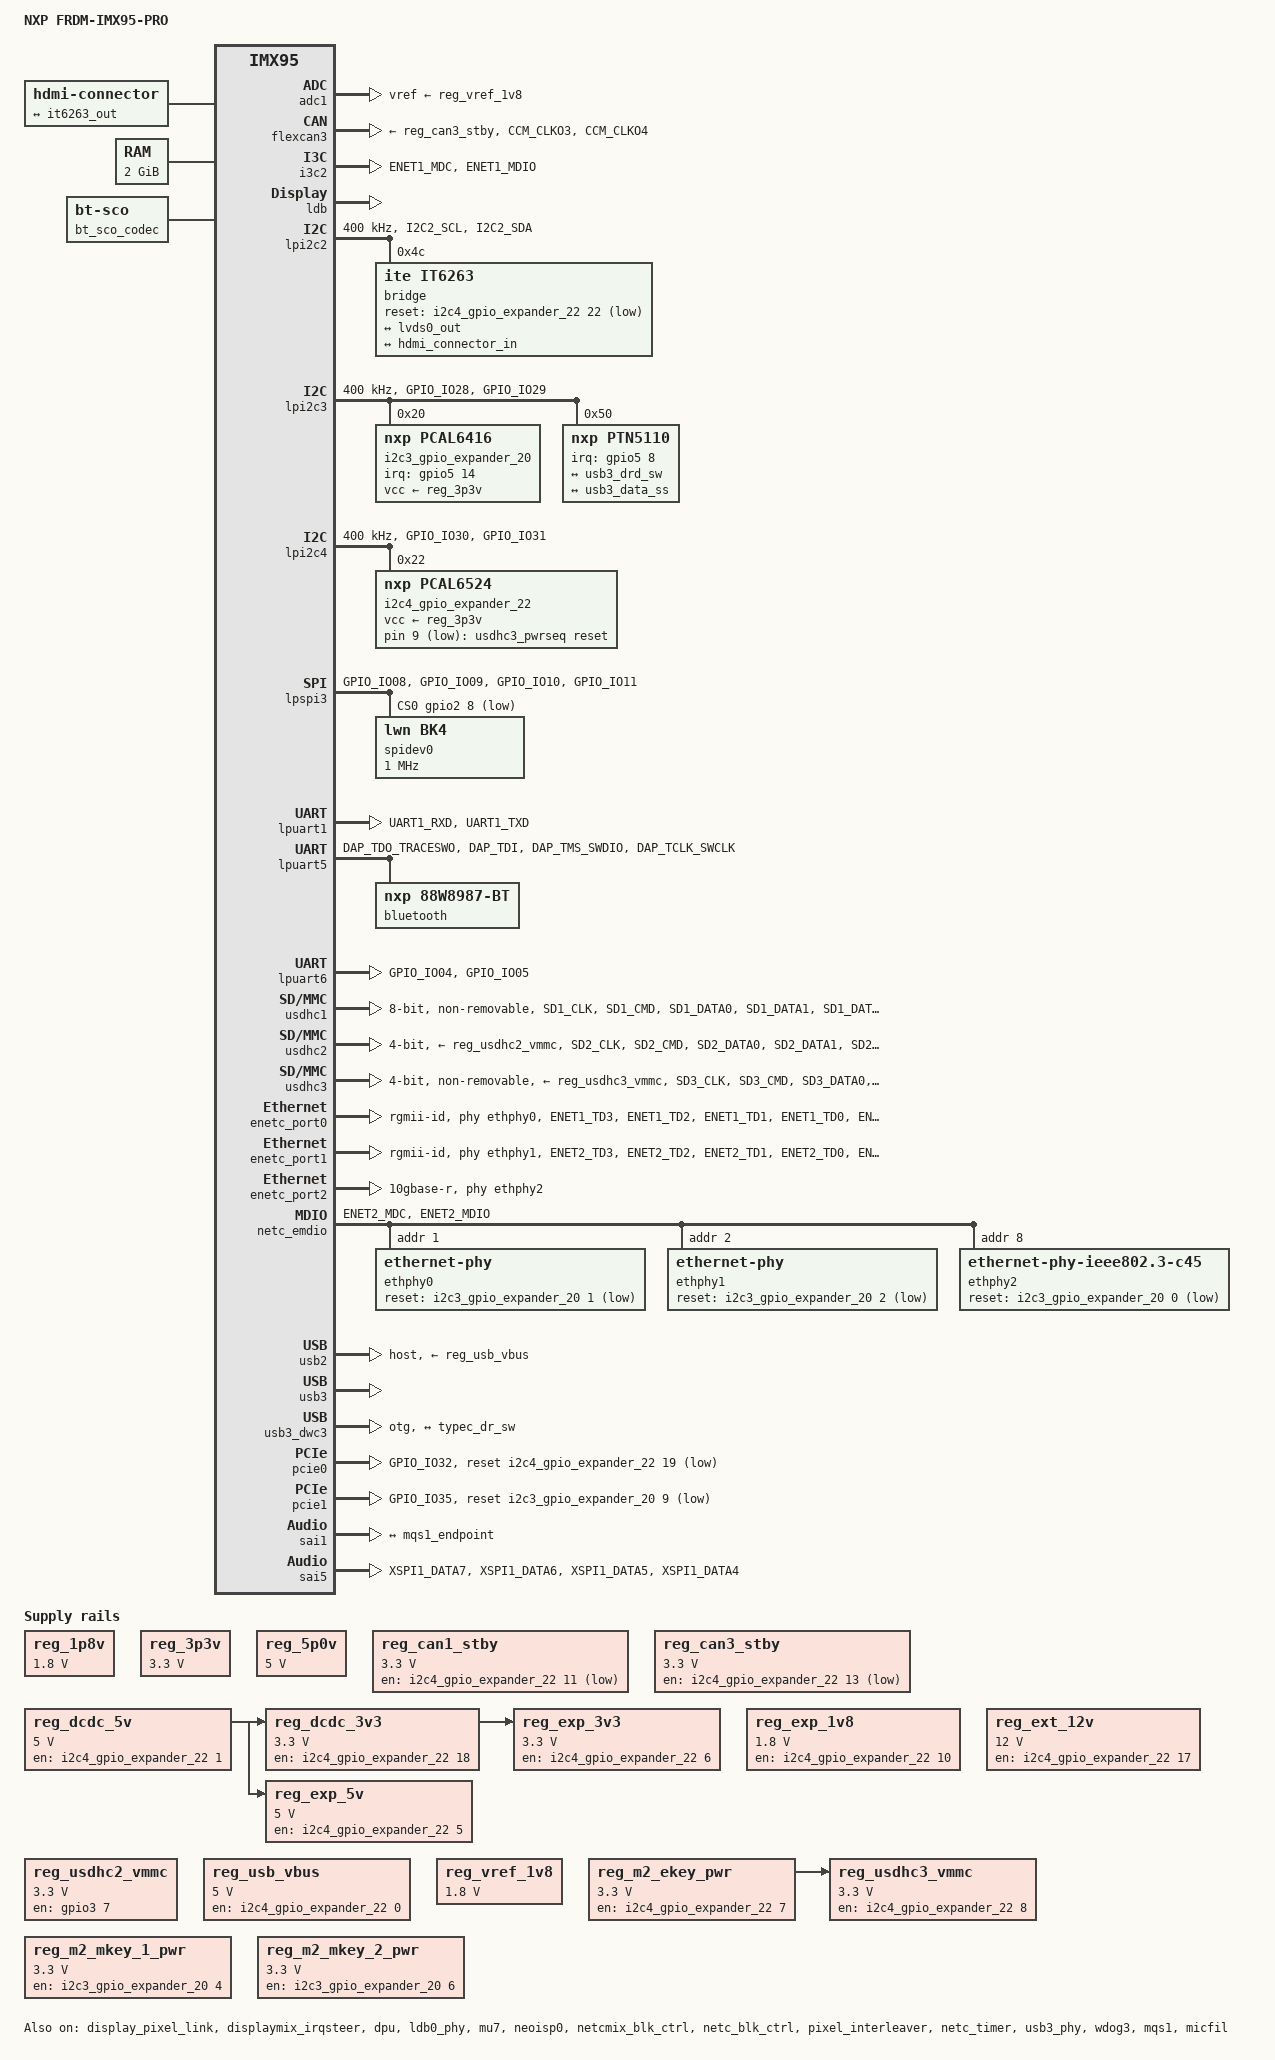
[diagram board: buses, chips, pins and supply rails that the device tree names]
// SPDX-License-Identifier: (GPL-2.0+ OR MIT)
/*
 * Copyright 2025 NXP
 */

/dts-v1/;

#include <dt-bindings/leds/common.h>
#include <dt-bindings/phy/phy-imx8-pcie.h>
#include <dt-bindings/pwm/pwm.h>
#include <dt-bindings/usb/pd.h>
#include <dt-bindings/i3c/i3c.h>
#include "imx95.dtsi"

#define FALLING_EDGE		BIT(0)
#define RISING_EDGE		BIT(1)

#define BRD_SM_CTRL_SD3_WAKE		0x8000	/*!< PCAL6408A-0 */
#define BRD_SM_CTRL_PCIE1_WAKE		0x8001	/*!< PCAL6408A-4 */
#define BRD_SM_CTRL_BT_WAKE		0x8002	/*!< PCAL6408A-5 */
#define BRD_SM_CTRL_PCIE2_WAKE		0x8003	/*!< PCAL6408A-6 */
#define BRD_SM_CTRL_BUTTON		0x8004	/*!< PCAL6408A-7 */

/ {
	model = "NXP FRDM-IMX95-PRO";
	compatible = "fsl,frdm-imx95-pro", "fsl,imx95";

	aliases {
		ethernet0 = &enetc_port0;
		ethernet1 = &enetc_port1;
	};

	chosen {
		stdout-path = &lpuart1;
		#address-cells = <2>;
		#size-cells = <2>;
	};

	hdmi-connector {
		compatible = "hdmi-connector";
		label = "hdmi";
		type = "a";

		port {
			hdmi_connector_in: endpoint {
				remote-endpoint = <&it6263_out>;
			};
		};
	};

	memory@80000000 {
		device_type = "memory";
		reg = <0x0 0x80000000 0 0x80000000>;
	};

	reserved-memory {
		#address-cells = <2>;
		#size-cells = <2>;
		ranges;

		linux_cma: linux,cma {
			compatible = "shared-dma-pool";
			reusable;
			size = <0 0x3c000000>;
			alloc-ranges = <0 0x80000000 0 0x7F000000>;
			linux,cma-default;
		};

		vpu_boot: vpu_boot@a0000000 {
			reg = <0 0xa0000000 0 0x100000>;
			no-map;
		};

		vdev0vring0: vdev0vring0@88000000 {
			reg = <0 0x88000000 0 0x8000>;
			no-map;
		};

		vdev0vring1: vdev0vring1@88008000 {
			reg = <0 0x88008000 0 0x8000>;
			no-map;
		};

		vdev1vring0: vdev1vring0@88010000 {
			reg = <0 0x88010000 0 0x8000>;
			no-map;
		};

		vdev1vring1: vdev1vring1@88018000 {
			reg = <0 0x88018000 0 0x8000>;
			no-map;
		};

		rsc_table: rsc-table@88220000 {
			reg = <0 0x88220000 0 0x1000>;
			no-map;
		};

		vdevbuffer: vdevbuffer@88020000 {
			compatible = "shared-dma-pool";
			reg = <0 0x88020000 0 0x100000>;
			no-map;
		};
	};

	reg_1p8v: regulator-1p8v {
		compatible = "regulator-fixed";
		regulator-max-microvolt = <1800000>;
		regulator-min-microvolt = <1800000>;
		regulator-name = "+V1.8_SW";
	};

	reg_3p3v: regulator-3p3v {
		compatible = "regulator-fixed";
		regulator-max-microvolt = <3300000>;
		regulator-min-microvolt = <3300000>;
		regulator-name = "+V3.3_SW";
	};

	reg_5p0v: regulator-5p0v {
		compatible = "regulator-fixed";
		regulator-max-microvolt = <5000000>;
		regulator-min-microvolt = <5000000>;
		regulator-name = "+V5.0_SW";
	};

	reg_can1_stby: regulator-can1-stby {
		compatible = "regulator-fixed";
		regulator-name = "can1-stby";
		regulator-min-microvolt = <3300000>;
		regulator-max-microvolt = <3300000>;
		gpio = <&i2c4_gpio_expander_22 11 GPIO_ACTIVE_LOW>;
		enable-active-low;
	};

	reg_can3_stby: regulator-can2-stby {
		compatible = "regulator-fixed";
		regulator-name = "can3-stby";
		regulator-min-microvolt = <3300000>;
		regulator-max-microvolt = <3300000>;
		gpio = <&i2c4_gpio_expander_22 13 GPIO_ACTIVE_LOW>;
		enable-active-low;
	};

	reg_dcdc_5v: regulator-dcdc-5v {
		compatible = "regulator-fixed";
		regulator-max-microvolt = <5000000>;
		regulator-min-microvolt = <5000000>;
		regulator-name = "DCDC_5V";
		gpio = <&i2c4_gpio_expander_22 1 GPIO_ACTIVE_HIGH>;
		enable-active-high;
		regulator-always-on;
	};

	reg_dcdc_3v3: regulator-dcdc-3v3 {
		compatible = "regulator-fixed";
		regulator-max-microvolt = <3300000>;
		regulator-min-microvolt = <3300000>;
		regulator-name = "DCDC_3V3";
		gpio = <&i2c4_gpio_expander_22 18 GPIO_ACTIVE_HIGH>;
		vin-supply = <&reg_dcdc_5v>;
		enable-active-high;
		regulator-always-on;
	};

	reg_exp_1v8: regulator-exp-1v8 {
		compatible = "regulator-fixed";
		regulator-max-microvolt = <1800000>;
		regulator-min-microvolt = <1800000>;
		regulator-name = "EXP_1V8";
		gpio = <&i2c4_gpio_expander_22 10 GPIO_ACTIVE_HIGH>;
		enable-active-high;
	};

	reg_exp_3v3: regulator-exp-3v3 {
		compatible = "regulator-fixed";
		regulator-max-microvolt = <3300000>;
		regulator-min-microvolt = <3300000>;
		regulator-name = "EXP_3V3";
		gpio = <&i2c4_gpio_expander_22 6 GPIO_ACTIVE_HIGH>;
		vin-supply = <&reg_dcdc_3v3>;
		enable-active-high;
	};

	reg_exp_5v: regulator-exp-5v {
		compatible = "regulator-fixed";
		regulator-max-microvolt = <5000000>;
		regulator-min-microvolt = <5000000>;
		regulator-name = "EXP_5V";
		gpio = <&i2c4_gpio_expander_22 5 GPIO_ACTIVE_HIGH>;
		vin-supply = <&reg_dcdc_5v>;
		enable-active-high;
		regulator-always-on;
	};

	reg_ext_12v: regulator-ext-12v {
		compatible = "regulator-fixed";
		regulator-name = "VCCEXT_12V";
		regulator-min-microvolt = <12000000>;
		regulator-max-microvolt = <12000000>;
		gpio = <&i2c4_gpio_expander_22 17 GPIO_ACTIVE_HIGH>;
		enable-active-high;
		regulator-always-on;
	};

	reg_usdhc2_vmmc: regulator-usdhc2 {
		compatible = "regulator-fixed";
		pinctrl-names = "default";
		pinctrl-0 = <&pinctrl_reg_usdhc2_vmmc>;
		regulator-name = "VDD_SD2_3V3";
		regulator-min-microvolt = <3300000>;
		regulator-max-microvolt = <3300000>;
		gpio = <&gpio3 7 GPIO_ACTIVE_HIGH>;
		off-on-delay-us = <12000>;
		enable-active-high;
	};

	reg_usb_vbus: regulator-vbus {
		compatible = "regulator-fixed";
		regulator-name = "USB_VBUS";
		regulator-min-microvolt = <5000000>;
		regulator-max-microvolt = <5000000>;
		gpio = <&i2c4_gpio_expander_22 0 GPIO_ACTIVE_HIGH>;
		enable-active-high;
	};

	usdhc3_pwrseq: usdhc3_pwrseq {
		compatible = "mmc-pwrseq-simple";
		reset-gpios = <&i2c4_gpio_expander_22 9 GPIO_ACTIVE_LOW>;
	};

	reg_usdhc3_vmmc: regulator-usdhc3 {
		compatible = "regulator-fixed";
		regulator-name = "WLAN_EN";
		regulator-min-microvolt = <3300000>;
		regulator-max-microvolt = <3300000>;
		vin-supply = <&reg_m2_ekey_pwr>;
		gpio = <&i2c4_gpio_expander_22 8 GPIO_ACTIVE_HIGH>;
		/*
		 * IW612 wifi chip needs more delay than other wifi chips to complete
		 * the host interface initialization after power up, otherwise the
		 * internal state of IW612 may be unstable, resulting in the failure of
		 * the SDIO3.0 switch voltage.
		 */
		startup-delay-us = <20000>;
		enable-active-high;
	};

	reg_vref_1v8: regulator-adc-vref {
		compatible = "regulator-fixed";
		regulator-name = "vref_1v8";
		regulator-min-microvolt = <1800000>;
		regulator-max-microvolt = <1800000>;
	};

	reg_m2_ekey_pwr: regulator-m2-pwr {
		compatible = "regulator-fixed";
		regulator-name = "M.2-power-ekey";
		regulator-min-microvolt = <3300000>;
		regulator-max-microvolt = <3300000>;
		gpio = <&i2c4_gpio_expander_22 7 GPIO_ACTIVE_HIGH>;
		enable-active-high;
		regulator-always-on;
	};

	reg_m2_mkey_1_pwr: regulator-m2-mkey-1-pwr {
		compatible = "regulator-fixed";
		regulator-name = "M.2-power-mkey-1";
		regulator-min-microvolt = <3300000>;
		regulator-max-microvolt = <3300000>;
		gpio = <&i2c3_gpio_expander_20 4 GPIO_ACTIVE_HIGH>;
		enable-active-high;
		regulator-always-on;
	};

	reg_m2_mkey_2_pwr: regulator-m2-mkey-2-pwr {
		compatible = "regulator-fixed";
		regulator-name = "M.2-power-mkey-2";
		regulator-min-microvolt = <3300000>;
		regulator-max-microvolt = <3300000>;
		gpio = <&i2c3_gpio_expander_20 6 GPIO_ACTIVE_HIGH>;
		enable-active-high;
		regulator-always-on;
	};

	cm7: imx95-cm7 {
		compatible = "fsl,imx95-cm7";
		mbox-names = "tx", "rx", "rxdb";
		mboxes = <&mu7 0 1
			  &mu7 1 1
			  &mu7 3 1>;
		memory-region = <&vdevbuffer>, <&vdev0vring0>, <&vdev0vring1>,
				<&vdev1vring0>, <&vdev1vring1>, <&rsc_table>;
		/* cpuid and lmmid must align with SM firmware */
		fsl,cpu-id = <1>;
		fsl,lmm-id = <1>;
		fsl,startup-delay-ms = <50>;
		status = "okay";
	};

	sound-micfil {
		compatible = "fsl,imx-audio-card";
		model = "micfil-audio";
		pri-dai-link {
			link-name = "micfil hifi";
			format = "i2s";
			cpu {
				sound-dai = <&micfil>;
			};
		};
	};

	sound-mqs {
		compatible = "audio-graph-card2";
		links = <&sai1_port1>;
		label = "mqs-audio";
	};

	bt_sco_codec: bt_sco_codec {
		#sound-dai-cells = <1>;
		compatible = "linux,bt-sco";
	};

	sound-bt-sco {
		compatible = "simple-audio-card";
		simple-audio-card,name = "bt-sco-audio";
		simple-audio-card,format = "dsp_a";
		simple-audio-card,bitclock-inversion;
		simple-audio-card,frame-master = <&btcpu>;
		simple-audio-card,bitclock-master = <&btcpu>;

		btcpu: simple-audio-card,cpu {
			sound-dai = <&sai5>;
			dai-tdm-slot-num = <2>;
			dai-tdm-slot-width = <16>;
		};

		simple-audio-card,codec {
			sound-dai = <&bt_sco_codec 1>;
		};
	};

};

&adc1 {
	vref-supply = <&reg_vref_1v8>;
	status = "okay";
};

&display_pixel_link {
	status = "okay";
};

&displaymix_irqsteer {
	status = "okay";
};

&dpu {
	status = "okay";
};

&flexcan1 {
	pinctrl-names = "default";
	pinctrl-0 = <&pinctrl_flexcan1>;
	xceiver-supply = <&reg_can1_stby>;
	status = "disabled";
};

&flexcan3 {
	pinctrl-names = "default";
	pinctrl-0 = <&pinctrl_flexcan3>;
	xceiver-supply = <&reg_can3_stby>;
	status = "okay";
};

&i3c2 {
	i2c-scl-hz = <400000>;
	pinctrl-0 = <&pinctrl_i3c2>;
	pinctrl-names = "default";
	status = "okay";
};

&ldb {
	assigned-clocks = <&scmi_clk IMX95_CLK_LDBPLL_VCO>,
			  <&scmi_clk IMX95_CLK_LDBPLL>;
	assigned-clock-rates = <4158000000>, <1039500000>;
	status = "okay";

	channel@0 {
		#address-cells = <1>;
		#size-cells = <0>;
		status = "okay";
		reg = <0>;

		port@1 {
			reg = <1>;

			lvds0_out: endpoint {
				remote-endpoint = <&it6263_in>;
			};
		};
	};
};

&ldb0_phy {
	status = "okay";
};

&lpi2c2 {
	clock-frequency = <400000>;
	pinctrl-names = "default";
	pinctrl-0 = <&pinctrl_lpi2c2>;
	status = "okay";

	bridge@4c {
		compatible = "ite,it6263";
		reg = <0x4c>;
		reset-gpios = <&i2c4_gpio_expander_22 22 GPIO_ACTIVE_LOW>;

		ports {
			#address-cells = <1>;
			#size-cells = <0>;

			port@0 {
				reg = <0>;

				it6263_in: endpoint {
					remote-endpoint = <&lvds0_out>;
				};
			};

			port@1 {
				reg = <1>;

				it6263_out: endpoint {
					remote-endpoint = <&hdmi_connector_in>;
				};
			};
		};
	};
};

&lpi2c3 {
	clock-frequency = <400000>;
	pinctrl-names = "default";
	pinctrl-0 = <&pinctrl_lpi2c3>;
	status = "okay";

	i2c3_gpio_expander_20: i2c3-gpio-expander@20 {
		compatible = "nxp,pcal6416";
		#gpio-cells = <2>;
		gpio-controller;
		reg = <0x20>;
		interrupt-controller;
		#interrupt-cells = <2>;
		interrupt-parent = <&gpio5>;
		interrupts = <14 IRQ_TYPE_LEVEL_LOW>;
		pinctrl-names = "default";
		pinctrl-0 = <&pinctrl_pcal6416>;
		vcc-supply = <&reg_3p3v>;
	};

	ptn5110: tcpc@50 {
		compatible = "nxp,ptn5110";
		reg = <0x50>;
		interrupt-parent = <&gpio5>;
		interrupts = <8 IRQ_TYPE_LEVEL_LOW>;
		pinctrl-names = "default";
		pinctrl-0 = <&pinctrl_ptn5110>;

		port {
			typec_dr_sw: endpoint {
				remote-endpoint = <&usb3_drd_sw>;
			};
		};

		typec_con: connector {
			compatible = "usb-c-connector";
			label = "USB-C";
			power-role = "dual";
			data-role = "dual";
			try-power-role = "sink";
			source-pdos = <PDO_FIXED(5000, 3000, PDO_FIXED_USB_COMM)>;
			sink-pdos = <PDO_FIXED(5000, 3000, PDO_FIXED_USB_COMM)
				     PDO_VAR(5000, 20000, 3000)>;
			op-sink-microwatt = <15000000>;
			self-powered;

			ports {
				#address-cells = <1>;
				#size-cells = <0>;

				port@1 {
					reg = <1>;
					typec_con_ss: endpoint {
						remote-endpoint = <&usb3_data_ss>;
					};
				};
			};
		};
	};
};

&lpi2c4 {
	clock-frequency = <400000>;
	pinctrl-names = "default";
	pinctrl-0 = <&pinctrl_lpi2c4>;
	status = "okay";

	i2c4_gpio_expander_22: i2c4-gpio-expander@22 {
		compatible = "nxp,pcal6524";
		pinctrl-names = "default";
		pinctrl-0 = <&pinctrl_pcal6524>;
		reg = <0x22>;
		gpio-controller;
		#gpio-cells = <2>;
		gpio-line-names = "USB2 Power Enable",
				  "DCDC5V Enable",
				  "",
				  "SE Enable",
				  "",
				  "EXP 5V Enable",
				  "EXP 3V3 Enable",
				  "WIFI Power Enable",
				  "M2 DIS1 B",
				  "WIFI SD3 Reset",
				  "EXP 1V8 Enable",
				  "CAN1 Standby",
				  "M2 DIS2",
				  "CAN2 Standby",
				  "ETH 10G IO4",
				  "ETH 10G IO3",
				  "SPI3/GPIO select",
				  "EXP 12V Enable",
				  "DCDC 3V3 Enable",
				  "PCIE1 Reset",
				  "",
				  "ETH 10G CLK Enable",
				  "LVDS to HDMI converter IT6263 reset",
				  "";
		vcc-supply = <&reg_3p3v>;

		/* When low, select lpspi; When high, select gpio. */
		lpspi-gpio-sel-hog {
			gpio-hog;
			gpios = <16 GPIO_ACTIVE_HIGH>;
			output-low;
		};
	};
};

&lpspi3 {
	fsl,spi-num-chipselects = <1>;
	pinctrl-names = "default";
	pinctrl-0 = <&pinctrl_lpspi3>;
	gpio = <&i2c4_gpio_expander_22 16 GPIO_ACTIVE_HIGH>;
	cs-gpios = <&gpio2 8 GPIO_ACTIVE_LOW>;
	status = "okay";

	spidev0: spi@0 {
		reg = <0>;
		compatible = "lwn,bk4";
		spi-max-frequency = <1000000>;
	};
};

&lpuart1 {
	/* console */
	pinctrl-names = "default";
	pinctrl-0 = <&pinctrl_uart1>;
	status = "okay";
};

&lpuart5 {
	/* BT */
	pinctrl-names = "default";
	pinctrl-0 = <&pinctrl_uart5>;
	status = "okay";

	bluetooth {
		compatible = "nxp,88w8987-bt";
	};
};

&lpuart6 {
	pinctrl-names = "default";
	pinctrl-0 = <&pinctrl_uart6>;
	status = "okay";
};

&mu7 {
	status = "okay";
};

&neoisp0 {
	status = "okay";
};

&netcmix_blk_ctrl {
	status = "okay";
};

&netc_blk_ctrl {
	status = "okay";
};

&pixel_interleaver {
	#address-cells = <1>;
	#size-cells = <0>;
	status = "okay";

	channel@0 {
		reg = <0>;
		status = "okay";
	};
};

&usdhc1 {
	pinctrl-names = "default", "state_100mhz", "state_200mhz", "sleep";
	pinctrl-0 = <&pinctrl_usdhc1>;
	pinctrl-1 = <&pinctrl_usdhc1_100mhz>;
	pinctrl-2 = <&pinctrl_usdhc1_200mhz>;
	pinctrl-3 = <&pinctrl_usdhc1>;
	bus-width = <8>;
	fsl,tuning-step = <1>;
	non-removable;
	no-sdio;
	no-sd;
	status = "okay";
};

&usdhc2 {
	pinctrl-names = "default", "state_100mhz", "state_200mhz", "sleep";
	pinctrl-0 = <&pinctrl_usdhc2>, <&pinctrl_usdhc2_gpio>;
	pinctrl-1 = <&pinctrl_usdhc2_100mhz>, <&pinctrl_usdhc2_gpio>;
	pinctrl-2 = <&pinctrl_usdhc2_200mhz>, <&pinctrl_usdhc2_gpio>;
	pinctrl-3 = <&pinctrl_usdhc2>, <&pinctrl_usdhc2_gpio>;
	cd-gpios = <&gpio3 00 GPIO_ACTIVE_LOW>;
	fsl,cd-gpio-wakeup-disable;
	vmmc-supply = <&reg_usdhc2_vmmc>;
	bus-width = <4>;
	fsl,tuning-step = <1>;
	status = "okay";
};

&usdhc3 {
	pinctrl-names = "default", "state_100mhz", "state_200mhz", "sleep";
	pinctrl-0 = <&pinctrl_usdhc3>;
	pinctrl-1 = <&pinctrl_usdhc3_100mhz>;
	pinctrl-2 = <&pinctrl_usdhc3_200mhz>;
	pinctrl-3 = <&pinctrl_usdhc3>;
	mmc-pwrseq = <&usdhc3_pwrseq>;
	vmmc-supply = <&reg_usdhc3_vmmc>;
	bus-width = <4>;
	keep-power-in-suspend;
	non-removable;
	wakeup-source;
	status = "okay";
};

&enetc_port0 {
	pinctrl-names = "default";
	pinctrl-0 = <&pinctrl_enetc0>;
	phy-handle = <&ethphy0>;
	phy-mode = "rgmii-id";
	status = "okay";
};

&enetc_port1 {
	pinctrl-names = "default";
	pinctrl-0 = <&pinctrl_enetc1>;
	phy-handle = <&ethphy1>;
	phy-mode = "rgmii-id";
	status = "okay";
};

&enetc_port2 {
	phy-handle = <&ethphy2>;
	phy-mode = "10gbase-r";
	managed = "in-band-status";
	status = "okay";
};

&netc_timer {
	status = "okay";
};

&netc_emdio {
	pinctrl-names = "default";
	pinctrl-0 = <&pinctrl_emdio>;
	status = "okay";

	ethphy0: ethernet-phy@1 {
		reg = <1>;
		reset-gpios = <&i2c3_gpio_expander_20 1 GPIO_ACTIVE_LOW>;
		reset-assert-us = <10000>;
		reset-deassert-us = <80000>;
	};

	ethphy1: ethernet-phy@2 {
		reg = <2>;
		reset-gpios = <&i2c3_gpio_expander_20 2 GPIO_ACTIVE_LOW>;
		reset-assert-us = <10000>;
		reset-deassert-us = <80000>;
	};

	ethphy2: ethernet-phy@8 {
		compatible = "ethernet-phy-ieee802.3-c45";
		reset-gpios = <&i2c3_gpio_expander_20 0 GPIO_ACTIVE_LOW>;
		reg = <8>;
	};
};

&usb2 {
	dr_mode = "host";
	vbus-supply = <&reg_usb_vbus>;
	disable-over-current;
	status = "okay";
};

&thermal_zones {
	pf09 {
		polling-delay-passive = <250>;
		polling-delay = <2000>;
		thermal-sensors = <&scmi_sensor 2>;
		trips {
			pf09_alert: trip0 {
				temperature = <140000>;
				hysteresis = <2000>;
				type = "passive";
			};

			pf09_crit: trip1 {
				temperature = <155000>;
				hysteresis = <2000>;
				type = "critical";
			};
		};
	};

	pf53_arm {
		polling-delay-passive = <250>;
		polling-delay = <2000>;
		thermal-sensors = <&scmi_sensor 4>;
		trips {
			pf5301_alert: trip0 {
				temperature = <140000>;
				hysteresis = <2000>;
				type = "passive";
			};

			pf5301_crit: trip1 {
				temperature = <155000>;
				hysteresis = <2000>;
				type = "critical";
			};
		};

		cooling-maps {
			map0 {
				trip = <&pf5301_alert>;
				cooling-device =
					<&A55_0 THERMAL_NO_LIMIT THERMAL_NO_LIMIT>,
					<&A55_1 THERMAL_NO_LIMIT THERMAL_NO_LIMIT>,
					<&A55_2 THERMAL_NO_LIMIT THERMAL_NO_LIMIT>,
					<&A55_3 THERMAL_NO_LIMIT THERMAL_NO_LIMIT>,
					<&A55_4 THERMAL_NO_LIMIT THERMAL_NO_LIMIT>,
					<&A55_5 THERMAL_NO_LIMIT THERMAL_NO_LIMIT>;
			};
		};
	};

	pf53_soc {
		polling-delay-passive = <250>;
		polling-delay = <2000>;
		thermal-sensors = <&scmi_sensor 3>;
		trips {
			pf5302_alert: trip0 {
				temperature = <140000>;
				hysteresis = <2000>;
				type = "passive";
			};

			pf5302_crit: trip1 {
				temperature = <155000>;
				hysteresis = <2000>;
				type = "critical";
			};
		};
	};
};

&usb3 {
	status = "okay";
};

&usb3_phy {
	status = "okay";

	port {
		usb3_data_ss: endpoint {
			remote-endpoint = <&typec_con_ss>;
		};
	};
};

&usb3_dwc3 {
	dr_mode = "otg";
	hnp-disable;
	srp-disable;
	adp-disable;
	usb-role-switch;
	role-switch-default-mode = "none";
	snps,dis-u1-entry-quirk;
	snps,dis-u2-entry-quirk;
	status = "okay";

	port {
		usb3_drd_sw: endpoint {
			remote-endpoint = <&typec_dr_sw>;
		};
	};
};

&scmi_misc {
	nxp,ctrl-ids = <BRD_SM_CTRL_SD3_WAKE		1
			BRD_SM_CTRL_PCIE1_WAKE		1
			BRD_SM_CTRL_BT_WAKE		1
			BRD_SM_CTRL_PCIE2_WAKE		1
			BRD_SM_CTRL_BUTTON		1>;
};

&scmi_iomuxc {
	pinctrl-names = "default";
	pinctrl-0 = <&pinctrl_hog>;

	pinctrl_hog: hoggrp {
		fsl,pins = <
			IMX95_PAD_XSPI1_SS1_B__GPIO5_IO_BIT11		0x31e
		>;
	};

	pinctrl_flexcan1: flexcan1grp {
		fsl,pins = <
			IMX95_PAD_SAI1_TXD0__AONMIX_TOP_CAN1_TX		0x39e
			IMX95_PAD_SAI1_TXC__AONMIX_TOP_CAN1_RX		0x39e
		>;
	};

	pinctrl_flexcan3: flexcan3grp {
		fsl,pins = <
			IMX95_PAD_CCM_CLKO3__CAN3_TX			0x39e
			IMX95_PAD_CCM_CLKO4__CAN3_RX			0x39e
		>;
	};

	pinctrl_lpi2c1: lpi2c1grp {
		fsl,pins = <
			IMX95_PAD_I2C1_SCL__AONMIX_TOP_LPI2C1_SCL	0x40000b9e
			IMX95_PAD_I2C1_SDA__AONMIX_TOP_LPI2C1_SDA	0x40000b9e
		>;
	};

	pinctrl_lpi2c2: lpi2c2grp {
		fsl,pins = <
			IMX95_PAD_I2C2_SCL__AONMIX_TOP_LPI2C2_SCL	0x40000b9e
			IMX95_PAD_I2C2_SDA__AONMIX_TOP_LPI2C2_SDA	0x40000b9e
		>;
	};

	pinctrl_lpi2c3: lpi2c3grp {
		fsl,pins = <
			IMX95_PAD_GPIO_IO28__LPI2C3_SDA			0x40000b9e
			IMX95_PAD_GPIO_IO29__LPI2C3_SCL			0x40000b9e
		>;
	};

	pinctrl_lpi2c4: lpi2c4grp {
		fsl,pins = <
			IMX95_PAD_GPIO_IO30__LPI2C4_SDA			0x40000b9e
			IMX95_PAD_GPIO_IO31__LPI2C4_SCL			0x40000b9e
		>;
	};

	pinctrl_pcal6524: pcal6524grp {
		fsl,pins = <
			IMX95_PAD_GPIO_IO34__GPIO5_IO_BIT14		0x31e
		>;
	};

	pinctrl_uart1: uart1grp {
		fsl,pins = <
			IMX95_PAD_UART1_RXD__AONMIX_TOP_LPUART1_RX      0x31e
			IMX95_PAD_UART1_TXD__AONMIX_TOP_LPUART1_TX      0x31e
		>;
	};

	pinctrl_uart5: uart5grp {
		fsl,pins = <
			IMX95_PAD_DAP_TDO_TRACESWO__LPUART5_TX			0x31e
			IMX95_PAD_DAP_TDI__LPUART5_RX				0x31e
			IMX95_PAD_DAP_TMS_SWDIO__LPUART5_RTS_B			0x31e
			IMX95_PAD_DAP_TCLK_SWCLK__LPUART5_CTS_B			0x31e
		>;
	};
	pinctrl_uart6: uart6grp {
		fsl,pins = <
			IMX95_PAD_GPIO_IO04__LPUART6_TX         0x31e
			IMX95_PAD_GPIO_IO05__LPUART6_RX         0x31e
		>;
	};

	pinctrl_enetc0: enetc0grp {
		fsl,pins = <
			IMX95_PAD_ENET1_TD3__NETCMIX_TOP_ETH0_RGMII_TD3		0x50e
			IMX95_PAD_ENET1_TD2__NETCMIX_TOP_ETH0_RGMII_TD2		0x50e
			IMX95_PAD_ENET1_TD1__NETCMIX_TOP_ETH0_RGMII_TD1		0x50e
			IMX95_PAD_ENET1_TD0__NETCMIX_TOP_ETH0_RGMII_TD0		0x50e
			IMX95_PAD_ENET1_TX_CTL__NETCMIX_TOP_ETH0_RGMII_TX_CTL	0x57e
			IMX95_PAD_ENET1_TXC__NETCMIX_TOP_ETH0_RGMII_TX_CLK	0x58e
			IMX95_PAD_ENET1_RX_CTL__NETCMIX_TOP_ETH0_RGMII_RX_CTL	0x57e
			IMX95_PAD_ENET1_RXC__NETCMIX_TOP_ETH0_RGMII_RX_CLK	0x58e
			IMX95_PAD_ENET1_RD0__NETCMIX_TOP_ETH0_RGMII_RD0		0x57e
			IMX95_PAD_ENET1_RD1__NETCMIX_TOP_ETH0_RGMII_RD1		0x57e
			IMX95_PAD_ENET1_RD2__NETCMIX_TOP_ETH0_RGMII_RD2		0x57e
			IMX95_PAD_ENET1_RD3__NETCMIX_TOP_ETH0_RGMII_RD3		0x57e
		>;
	};

	pinctrl_enetc1: enetc1grp {
		fsl,pins = <
			IMX95_PAD_ENET2_TD3__NETCMIX_TOP_ETH1_RGMII_TD3		0x50e
			IMX95_PAD_ENET2_TD2__NETCMIX_TOP_ETH1_RGMII_TD2		0x50e
			IMX95_PAD_ENET2_TD1__NETCMIX_TOP_ETH1_RGMII_TD1		0x50e
			IMX95_PAD_ENET2_TD0__NETCMIX_TOP_ETH1_RGMII_TD0		0x50e
			IMX95_PAD_ENET2_TX_CTL__NETCMIX_TOP_ETH1_RGMII_TX_CTL	0x57e
			IMX95_PAD_ENET2_TXC__NETCMIX_TOP_ETH1_RGMII_TX_CLK	0x58e
			IMX95_PAD_ENET2_RX_CTL__NETCMIX_TOP_ETH1_RGMII_RX_CTL	0x57e
			IMX95_PAD_ENET2_RXC__NETCMIX_TOP_ETH1_RGMII_RX_CLK	0x58e
			IMX95_PAD_ENET2_RD0__NETCMIX_TOP_ETH1_RGMII_RD0		0x57e
			IMX95_PAD_ENET2_RD1__NETCMIX_TOP_ETH1_RGMII_RD1		0x57e
			IMX95_PAD_ENET2_RD2__NETCMIX_TOP_ETH1_RGMII_RD2		0x57e
			IMX95_PAD_ENET2_RD3__NETCMIX_TOP_ETH1_RGMII_RD3		0x57e
		>;
	};

	pinctrl_emdio: emdiogrp {
		fsl,pins = <
			IMX95_PAD_ENET2_MDC__NETCMIX_TOP_NETC_MDC		0x50e
			IMX95_PAD_ENET2_MDIO__NETCMIX_TOP_NETC_MDIO		0x90e
		>;
	};

	pinctrl_i3c2: i3c2grp {
		fsl,pins = <
			IMX95_PAD_ENET1_MDC__I3C2_SCL				0x4000019e
			IMX95_PAD_ENET1_MDIO__I3C2_SDA				0x4000019e
		>;
	};

	pinctrl_mipi_dsi_csi: mipidsigrp {
		fsl,pins = <
			IMX95_PAD_XSPI1_DATA6__GPIO5_IO_BIT6			0x31e
		>;
	};

	pinctrl_mqs1: mqs1grp {
		fsl,pins = <
			IMX95_PAD_SAI1_TXFS__AONMIX_TOP_MQS1_LEFT		0x31e
			IMX95_PAD_SAI1_RXD0__AONMIX_TOP_MQS1_RIGHT		0x31e
		>;
	};

	pinctrl_pcal6416: pcal6416grp {
		fsl,pins = <
			IMX95_PAD_GPIO_IO34__GPIO5_IO_BIT14			0x31
		>;
	};

	pinctrl_pcie0: pcie0grp {
		fsl,pins = <
			IMX95_PAD_GPIO_IO32__HSIOMIX_TOP_PCIE1_CLKREQ_B		0x4000031e
		>;
	};

	pinctrl_pcie1: pcie1grp {
		fsl,pins = <
			IMX95_PAD_GPIO_IO35__HSIOMIX_TOP_PCIE2_CLKREQ_B     0x4000031e
		>;
	};

	pinctrl_pdm: pdmgrp {
		fsl,pins = <
			IMX95_PAD_PDM_CLK__AONMIX_TOP_PDM_CLK				0x31e
			IMX95_PAD_PDM_BIT_STREAM0__AONMIX_TOP_PDM_BIT_STREAM_BIT0	0x31e
		>;
	};

	pinctrl_ptn5110: ptn5110grp {
		fsl,pins = <
			IMX95_PAD_XSPI1_DQS__GPIO5_IO_BIT8			0x31e
		>;
	};

	pinctrl_usdhc1: usdhc1grp {
		fsl,pins = <
			IMX95_PAD_SD1_CLK__USDHC1_CLK				0x158e
			IMX95_PAD_SD1_CMD__USDHC1_CMD				0x138e
			IMX95_PAD_SD1_DATA0__USDHC1_DATA0			0x138e
			IMX95_PAD_SD1_DATA1__USDHC1_DATA1			0x138e
			IMX95_PAD_SD1_DATA2__USDHC1_DATA2			0x138e
			IMX95_PAD_SD1_DATA3__USDHC1_DATA3			0x138e
			IMX95_PAD_SD1_DATA4__USDHC1_DATA4			0x138e
			IMX95_PAD_SD1_DATA5__USDHC1_DATA5			0x138e
			IMX95_PAD_SD1_DATA6__USDHC1_DATA6			0x138e
			IMX95_PAD_SD1_DATA7__USDHC1_DATA7			0x138e
			IMX95_PAD_SD1_STROBE__USDHC1_STROBE			0x158e
		>;
	};

	pinctrl_usdhc1_100mhz: usdhc1-100mhzgrp {
		fsl,pins = <
			IMX95_PAD_SD1_CLK__USDHC1_CLK				0x158e
			IMX95_PAD_SD1_CMD__USDHC1_CMD				0x138e
			IMX95_PAD_SD1_DATA0__USDHC1_DATA0			0x138e
			IMX95_PAD_SD1_DATA1__USDHC1_DATA1			0x138e
			IMX95_PAD_SD1_DATA2__USDHC1_DATA2			0x138e
			IMX95_PAD_SD1_DATA3__USDHC1_DATA3			0x138e
			IMX95_PAD_SD1_DATA4__USDHC1_DATA4			0x138e
			IMX95_PAD_SD1_DATA5__USDHC1_DATA5			0x138e
			IMX95_PAD_SD1_DATA6__USDHC1_DATA6			0x138e
			IMX95_PAD_SD1_DATA7__USDHC1_DATA7			0x138e
			IMX95_PAD_SD1_STROBE__USDHC1_STROBE			0x158e
		>;
	};

	pinctrl_usdhc1_200mhz: usdhc1-200mhzgrp {
		fsl,pins = <
			IMX95_PAD_SD1_CLK__USDHC1_CLK				0x15fe
			IMX95_PAD_SD1_CMD__USDHC1_CMD				0x13fe
			IMX95_PAD_SD1_DATA0__USDHC1_DATA0			0x13fe
			IMX95_PAD_SD1_DATA1__USDHC1_DATA1			0x13fe
			IMX95_PAD_SD1_DATA2__USDHC1_DATA2			0x13fe
			IMX95_PAD_SD1_DATA3__USDHC1_DATA3			0x13fe
			IMX95_PAD_SD1_DATA4__USDHC1_DATA4			0x13fe
			IMX95_PAD_SD1_DATA5__USDHC1_DATA5			0x13fe
			IMX95_PAD_SD1_DATA6__USDHC1_DATA6			0x13fe
			IMX95_PAD_SD1_DATA7__USDHC1_DATA7			0x13fe
			IMX95_PAD_SD1_STROBE__USDHC1_STROBE			0x15fe
		>;
	};

	pinctrl_reg_usdhc2_vmmc: regusdhc2vmmcgrp {
		fsl,pins = <
			IMX95_PAD_SD2_RESET_B__GPIO3_IO_BIT7			0x31e
		>;
	};

	pinctrl_reg_ext_pwr: regextpwrengrp {
		fsl,pins = <
			IMX95_PAD_XSPI1_SCLK__GPIO5_IO_BIT9			0x31e
		>;
	};

	pinctrl_sai5: sai5grp {
		fsl,pins = <
			IMX95_PAD_XSPI1_DATA7__SAI5_RX_DATA_BIT0		0x31e
			IMX95_PAD_XSPI1_DATA6__SAI5_TX_BCLK			0x31e
			IMX95_PAD_XSPI1_DATA5__SAI5_TX_SYNC			0x31e
			IMX95_PAD_XSPI1_DATA4__SAI5_TX_DATA_BIT0		0x31e
		>;
	};

	pinctrl_lpspi3: lpspi3grp {
		fsl,pins = <
			IMX95_PAD_GPIO_IO08__GPIO2_IO_BIT8			0x39e
			IMX95_PAD_GPIO_IO09__LPSPI3_SIN				0x39e
			IMX95_PAD_GPIO_IO10__LPSPI3_SOUT			0x39e
			IMX95_PAD_GPIO_IO11__LPSPI3_SCK				0x39e
		>;
	};

	pinctrl_usdhc2_gpio: usdhc2gpiogrp {
		fsl,pins = <
			IMX95_PAD_SD2_CD_B__GPIO3_IO_BIT0			0x31e
		>;
	};

	pinctrl_usdhc2: usdhc2grp {
		fsl,pins = <
			IMX95_PAD_SD2_CLK__USDHC2_CLK				0x158e
			IMX95_PAD_SD2_CMD__USDHC2_CMD				0x138e
			IMX95_PAD_SD2_DATA0__USDHC2_DATA0			0x138e
			IMX95_PAD_SD2_DATA1__USDHC2_DATA1			0x138e
			IMX95_PAD_SD2_DATA2__USDHC2_DATA2			0x138e
			IMX95_PAD_SD2_DATA3__USDHC2_DATA3			0x138e
			IMX95_PAD_SD2_VSELECT__USDHC2_VSELECT			0x51e
		>;
	};

	pinctrl_usdhc2_100mhz: usdhc2-100mhzgrp {
		fsl,pins = <
			IMX95_PAD_SD2_CLK__USDHC2_CLK				0x158e
			IMX95_PAD_SD2_CMD__USDHC2_CMD				0x138e
			IMX95_PAD_SD2_DATA0__USDHC2_DATA0			0x138e
			IMX95_PAD_SD2_DATA1__USDHC2_DATA1			0x138e
			IMX95_PAD_SD2_DATA2__USDHC2_DATA2			0x138e
			IMX95_PAD_SD2_DATA3__USDHC2_DATA3			0x138e
			IMX95_PAD_SD2_VSELECT__USDHC2_VSELECT			0x51e
		>;
	};

	pinctrl_usdhc2_200mhz: usdhc2-200mhzgrp {
		fsl,pins = <
			IMX95_PAD_SD2_CLK__USDHC2_CLK				0x158e
			IMX95_PAD_SD2_CMD__USDHC2_CMD				0x138e
			IMX95_PAD_SD2_DATA0__USDHC2_DATA0			0x138e
			IMX95_PAD_SD2_DATA1__USDHC2_DATA1			0x138e
			IMX95_PAD_SD2_DATA2__USDHC2_DATA2			0x138e
			IMX95_PAD_SD2_DATA3__USDHC2_DATA3			0x138e
			IMX95_PAD_SD2_VSELECT__USDHC2_VSELECT			0x51e
		>;
	};

	pinctrl_usdhc3: usdhc3grp {
		fsl,pins = <
			IMX95_PAD_SD3_CLK__USDHC3_CLK				0x158e
			IMX95_PAD_SD3_CMD__USDHC3_CMD				0x138e
			IMX95_PAD_SD3_DATA0__USDHC3_DATA0			0x138e
			IMX95_PAD_SD3_DATA1__USDHC3_DATA1			0x138e
			IMX95_PAD_SD3_DATA2__USDHC3_DATA2			0x138e
			IMX95_PAD_SD3_DATA3__USDHC3_DATA3			0x138e
		>;
	};

	pinctrl_usdhc3_100mhz: usdhc3-100mhzgrp {
		fsl,pins = <
			IMX95_PAD_SD3_CLK__USDHC3_CLK				0x158e
			IMX95_PAD_SD3_CMD__USDHC3_CMD				0x138e
			IMX95_PAD_SD3_DATA0__USDHC3_DATA0			0x138e
			IMX95_PAD_SD3_DATA1__USDHC3_DATA1			0x138e
			IMX95_PAD_SD3_DATA2__USDHC3_DATA2			0x138e
			IMX95_PAD_SD3_DATA3__USDHC3_DATA3			0x138e
		>;
	};

	pinctrl_usdhc3_200mhz: usdhc3-200mhzgrp {
		fsl,pins = <
			IMX95_PAD_SD3_CLK__USDHC3_CLK				0x15fe
			IMX95_PAD_SD3_CMD__USDHC3_CMD				0x13fe
			IMX95_PAD_SD3_DATA0__USDHC3_DATA0			0x13fe
			IMX95_PAD_SD3_DATA1__USDHC3_DATA1			0x13fe
			IMX95_PAD_SD3_DATA2__USDHC3_DATA2			0x13fe
			IMX95_PAD_SD3_DATA3__USDHC3_DATA3			0x13fe
		>;
	};
};

&pcie0 {
	pinctrl-0 = <&pinctrl_pcie0>;
	pinctrl-names = "default";
	reset-gpio = <&i2c4_gpio_expander_22 19 GPIO_ACTIVE_LOW>;
	vpcie-supply = <&reg_m2_mkey_1_pwr>;
	status = "okay";
};

&pcie1 {
	pinctrl-0 = <&pinctrl_pcie1>;
	pinctrl-names = "default";
	reset-gpio = <&i2c3_gpio_expander_20 9 GPIO_ACTIVE_LOW>;
	vpcie-supply = <&reg_m2_mkey_2_pwr>;
	status = "okay";
};

&vpuctrl {
	boot = <&vpu_boot>;
	sram = <&sram1>;
};

&wdog3 {
	status = "okay";
};

&sai1 {
	#sound-dai-cells = <0>;
	clocks = <&scmi_clk IMX95_CLK_BUSAON>, <&dummy>,
		 <&scmi_clk IMX95_CLK_SAI1>, <&dummy>,
		 <&dummy>, <&scmi_clk IMX95_CLK_AUDIOPLL1>,
		 <&scmi_clk IMX95_CLK_AUDIOPLL2>;
	clock-names = "bus", "mclk0", "mclk1", "mclk2", "mclk3", "pll8k", "pll11k";
	assigned-clocks = <&scmi_clk IMX95_CLK_AUDIOPLL1_VCO>,
			  <&scmi_clk IMX95_CLK_AUDIOPLL2_VCO>,
			  <&scmi_clk IMX95_CLK_AUDIOPLL1>,
			  <&scmi_clk IMX95_CLK_AUDIOPLL2>,
			  <&scmi_clk IMX95_CLK_SAI1>;
	assigned-clock-parents = <0>, <0>, <0>, <0>,
				 <&scmi_clk IMX95_CLK_AUDIOPLL1>;
	assigned-clock-rates = <3932160000>,
			       <3612672000>, <393216000>,
			       <361267200>, <24576000>;
	fsl,sai-mclk-direction-output;
	status = "okay";

	ports {
		#address-cells = <1>;
		#size-cells = <0>;

		sai1_port1: port@1 {
			reg = <1>;
			dai-format = "left_j";
			bitclock-master;
			frame-master;
			playback-only;
			mclk-fs = <256>;

			sai1_endpoint1: endpoint {
				remote-endpoint = <&mqs1_endpoint>;
			};
		};
	};
};

&sai5 {
	#sound-dai-cells = <0>;
	pinctrl-names = "default";
	pinctrl-0 = <&pinctrl_sai5>;
	assigned-clocks = <&scmi_clk IMX95_CLK_AUDIOPLL1_VCO>,
			  <&scmi_clk IMX95_CLK_AUDIOPLL2_VCO>,
			  <&scmi_clk IMX95_CLK_AUDIOPLL1>,
			  <&scmi_clk IMX95_CLK_AUDIOPLL2>,
			  <&scmi_clk IMX95_CLK_SAI5>;
	assigned-clock-parents = <0>, <0>, <0>, <0>,
				 <&scmi_clk IMX95_CLK_AUDIOPLL1>;
	assigned-clock-rates = <3932160000>,
			       <3612672000>, <393216000>,
			       <361267200>, <12288000>;
	fsl,sai-mclk-direction-output;
	status = "okay";
};

&mqs1 {
	pinctrl-names = "default";
	pinctrl-0 = <&pinctrl_mqs1>;
	clocks = <&scmi_clk IMX95_CLK_SAI1>;
	clock-names = "mclk";
	#sound-dai-cells = <0>;

	status = "okay";

	mqs1_port: port {
		dai-format = "left_j";
		playback-only;

		mqs1_endpoint: endpoint {
			remote-endpoint = <&sai1_endpoint1>;
		};
	};
};

&micfil {
	#sound-dai-cells = <0>;
	pinctrl-names = "default";
	pinctrl-0 = <&pinctrl_pdm>;
	assigned-clocks = <&scmi_clk IMX95_CLK_AUDIOPLL1_VCO>,
			  <&scmi_clk IMX95_CLK_AUDIOPLL2_VCO>,
			  <&scmi_clk IMX95_CLK_AUDIOPLL1>,
			  <&scmi_clk IMX95_CLK_AUDIOPLL2>,
			  <&scmi_clk IMX95_CLK_PDM>;
	assigned-clock-parents = <0>, <0>, <0>, <0>,
				 <&scmi_clk IMX95_CLK_AUDIOPLL1>;
	assigned-clock-rates = <3932160000>,
			       <3612672000>, <393216000>,
			       <361267200>, <49152000>;
	status = "okay";
};
